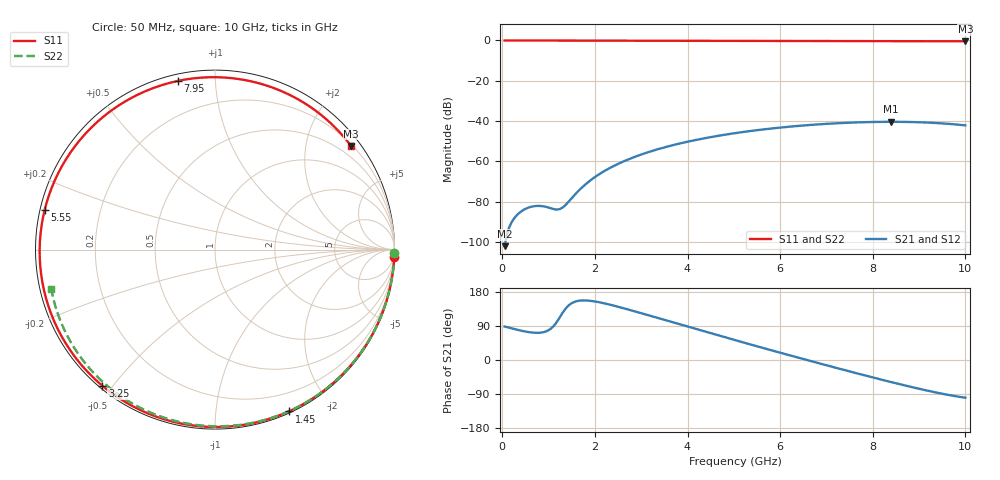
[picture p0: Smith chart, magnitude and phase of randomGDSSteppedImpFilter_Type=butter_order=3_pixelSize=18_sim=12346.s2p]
! freq	dB(S11)	phase(S11)	dB(S12)	phase(S12)
!  dB(S21)	phase(S21)	dB(S22)	phase(S22)
!S-par simulation data
#  GHz  S  DB  R 50
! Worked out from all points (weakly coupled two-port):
!   200 points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, 50 MHz to 10 GHz, reference 50 ohm
!   highest |S21| = -40.40 dB at 8.4 GHz (marker M1); lowest = -102.2 dB at 50 MHz (marker M2)
!   lowest |S11| = -0.4 dB at 10 GHz (marker M3), VSWR 41.28, Z = 11.8 + j147 ohm
!   |S11| at or under -10 dB: nowhere
!   |S22| runs from -0.6 to 0.0 dB; largest |S21 - S12| = 0
!   S11 on the Smith chart (normalised r, x): 50 MHz: 0, -48; 1.45 GHz: 0.02, -1.56; 3.25 GHz: 0.01, -0.47; 5.55 GHz: 0.01, +0.11; 7.95 GHz: 0.03, +0.80; 10 GHz: 0.24, +2.95
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0.05  -0.00 -2.4  -102.16 88.4  -102.16 88.4  -0.00 -1.0
0.35  -0.02 -16.6  -85.97 79.0  -85.97 79.0  -0.01 -6.7
0.65  -0.04 -30.5  -82.46 72.3  -82.46 72.3  -0.02 -12.5
1.05  -0.06 -48.4  -83.34 82.8  -83.34 82.8  -0.03 -20.1
1.45  -0.08 -65.4  -79.59 145.8  -79.59 145.8  -0.04 -27.6
1.75  -0.09 -77.5  -72.40 157.3  -72.40 157.3  -0.04 -33.2
2.05  -0.10 -89.0  -67.07 153.4  -67.07 153.4  -0.05 -38.8
2.4  -0.11 -101.7  -62.42 143.7  -62.42 143.7  -0.06 -45.1
2.8  -0.12 -115.3  -58.35 130.5  -58.35 130.5  -0.07 -52.3
3.25  -0.14 -129.6  -54.77 114.7  -54.77 114.7  -0.08 -60.3
3.4  -0.14 -134.2  -53.75 109.4  -53.75 109.4  -0.08 -62.9
4.2  -0.17 -157.2  -49.32 81.1  -49.32 81.1  -0.11 -76.5
5.05  -0.20 -179.9  -45.95 51.6  -45.95 51.6  -0.14 -90.5
5.55  -0.22 167.0  -44.41 34.5  -44.41 34.5  -0.16 -98.5
6.1  -0.25 152.8  -43.04 15.9  -43.04 15.9  -0.19 -107.1
6.7  -0.28 137.0  -41.87 -4.1  -41.87 -4.1  -0.23 -116.3
7.35  -0.31 119.4  -40.98 -25.3  -40.98 -25.3  -0.27 -126.1
7.95  -0.33 102.4  -40.51 -44.4  -40.51 -44.4  -0.32 -135.2
8.35  -0.35 90.6  -40.40 -56.8  -40.40 -56.8  -0.36 -141.2
8.4  -0.35 89.1  -40.40 -58.4  -40.40 -58.4  -0.37 -141.9
9.2  -0.38 64.1  -40.80 -81.4  -40.80 -81.4  -0.45 -154.1
10  -0.42 37.3  -42.16 -99.6  -42.16 -99.6  -0.55 -166.5
